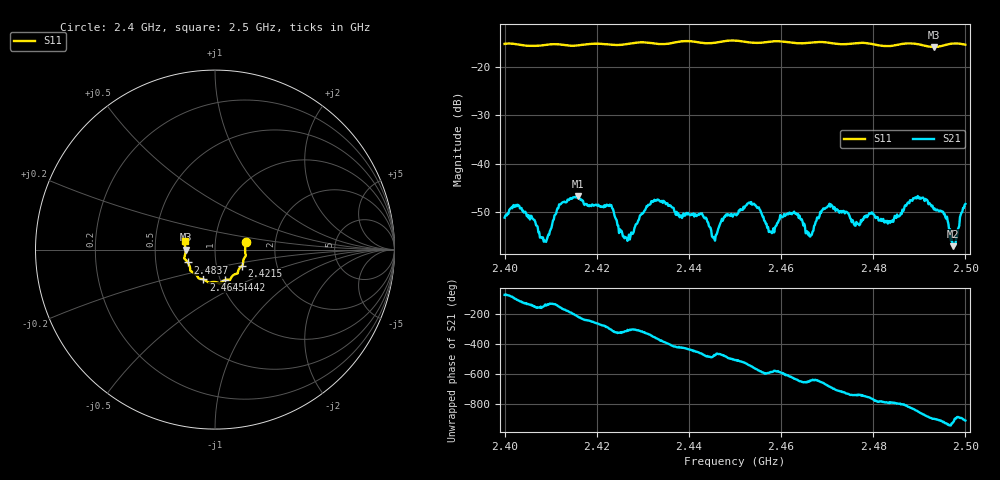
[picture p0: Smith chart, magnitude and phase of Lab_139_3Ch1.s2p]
# Hz S RI R 50
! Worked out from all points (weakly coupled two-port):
!   601 points, 2.4 GHz to 2.5 GHz, reference 50 ohm
!   highest |S21| = -46.76 dB at 2.4158 GHz (marker M1); lowest = -57.2 dB at 2.4973 GHz (marker M2)
!   lowest |S11| = -15.7 dB at 2.4932 GHz (marker M3), VSWR 1.39, Z = 35.9 - j0.0597 ohm
!   |S11| at or under -10 dB: start of sweep to end of sweep
!   S12 and S22 are empty: the file has one direction only
!   S11 on the Smith chart (normalised r, x): 2.4 GHz: 1.41, +0.12; 2.4215 GHz: 1.33, -0.25; 2.4442 GHz: 1.05, -0.37; 2.4645 GHz: 0.83, -0.29; 2.4837 GHz: 0.73, -0.11; 2.5 GHz: 0.71, +0.07
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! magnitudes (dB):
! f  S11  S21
! 2.4 GHz  -15.1  -51.3
! 2.403 GHz  -15.2  -48.8
! 2.4088 GHz  -15.3  -56.2
! 2.412 GHz  -15.2  -48.5
! 2.4158 GHz  -15.4  -46.8
! 2.4167 GHz  -15.3  -47.5
! 2.4215 GHz  -15.1  -49.1
! 2.4267 GHz  -15.1  -56.1
! 2.4333 GHz  -15.1  -47.6
! 2.4442 GHz  -15.0  -52.3
! 2.4455 GHz  -14.9  -55.7
! 2.45 GHz  -14.4  -50.6
! 2.4578 GHz  -14.6  -54.2
! 2.4645 GHz  -15.0  -51.6
! 2.4667 GHz  -14.8  -54.8
! 2.4707 GHz  -14.9  -49.0
! 2.4833 GHz  -15.6  -52.0
! 2.4837 GHz  -15.5  -52.3
! 2.4892 GHz  -15.1  -47.0
! 2.4932 GHz  -15.7  -49.6
! 2.4973 GHz  -15.0  -57.2
! 2.5 GHz  -15.3  -48.4
